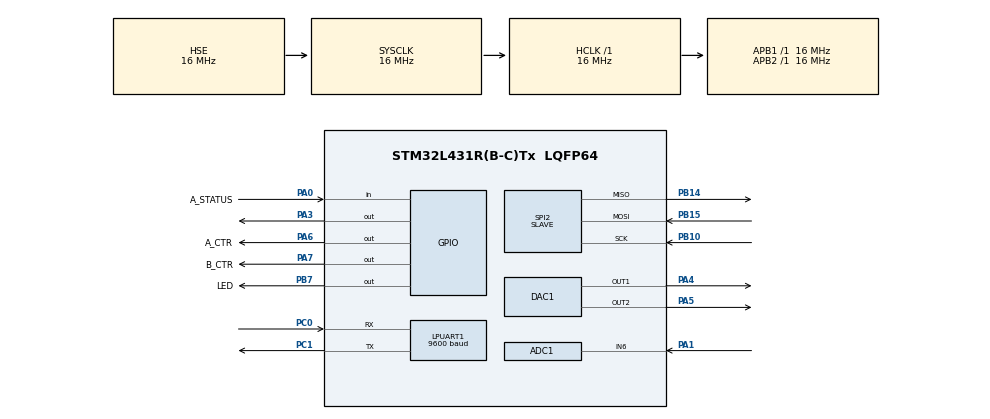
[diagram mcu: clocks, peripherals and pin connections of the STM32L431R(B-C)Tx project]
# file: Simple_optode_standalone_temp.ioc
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ADC1.Channel-3\#ChannelRegularConversion=ADC_CHANNEL_6
ADC1.NbrOfConversionFlag=1
ADC1.OffsetNumber-3\#ChannelRegularConversion=ADC_OFFSET_NONE
ADC1.Rank-3\#ChannelRegularConversion=1
ADC1.Resolution=ADC_RESOLUTION_12B
ADC1.SamplingTime-3\#ChannelRegularConversion=ADC_SAMPLETIME_2CYCLES_5
ADC1.master=1
DAC1.DAC_Channel-DAC_OUT2=DAC_CHANNEL_2
LPUART1.BaudRate=9600
LPUART1.WordLength=UART_WORDLENGTH_8B
Mcu.Family=STM32L4
Mcu.Name=STM32L431R(B-C)Tx
Mcu.Package=LQFP64
NVIC.PriorityGroup=NVIC_PRIORITYGROUP_4
NVIC.TIM1_UP_TIM16_IRQn=true\:0\:0\:false\:false\:true\:true\:true
PA0.GPIO_Label=A_STATUS
PA0.Signal=GPIO_Input
PA1.Signal=ADCx_IN6
PA13\ (JTMS-SWDIO).Mode=Serial_Wire
PA13\ (JTMS-SWDIO).Signal=SYS_JTMS-SWDIO
PA14\ (JTCK-SWCLK).Mode=Serial_Wire
PA14\ (JTCK-SWCLK).Signal=SYS_JTCK-SWCLK
PA3.Signal=GPIO_Output
PA4.Signal=COMP_DAC11_group
PA5.Signal=COMP_DAC12_group
PA6.GPIO_Label=A_CTR
PA6.Signal=GPIO_Output
PA7.GPIO_Label=B_CTR
PA7.Signal=GPIO_Output
PB10.Mode=Full_Duplex_Slave
PB10.Signal=SPI2_SCK
PB12.Signal=SPI2_NSS
PB14.Mode=Full_Duplex_Slave
PB14.Signal=SPI2_MISO
PB15.Mode=Full_Duplex_Slave
PB15.Signal=SPI2_MOSI
PB7.GPIO_Label=LED
PB7.Signal=GPIO_Output
PC0.Mode=Asynchronous
PC0.Signal=LPUART1_RX
PC1.Mode=Asynchronous
PC1.Signal=LPUART1_TX
PC14-OSC32_IN\ (PC14).Mode=LSE-External-Oscillator
PC14-OSC32_IN\ (PC14).Signal=RCC_OSC32_IN
PC15-OSC32_OUT\ (PC15).Mode=LSE-External-Oscillator
PC15-OSC32_OUT\ (PC15).Signal=RCC_OSC32_OUT
PH0-OSC_IN\ (PH0).Mode=HSE-External-Oscillator
PH0-OSC_IN\ (PH0).Signal=RCC_OSC_IN
PH1-OSC_OUT\ (PH1).Mode=HSE-External-Oscillator
PH1-OSC_OUT\ (PH1).Signal=RCC_OSC_OUT
ProjectManager.HeapSize=0x200
ProjectManager.StackSize=0x400
ProjectManager.TargetToolchain=STM32CubeIDE
RCC.ADCCLockSelection=RCC_ADCCLKSOURCE_SYSCLK
RCC.ADCFreq_Value=16000000
RCC.AHBFreq_Value=16000000
RCC.APB1Freq_Value=16000000
RCC.APB1TimFreq_Value=16000000
RCC.APB2Freq_Value=16000000
RCC.APB2TimFreq_Value=16000000
RCC.CortexFreq_Value=16000000
RCC.FLatency-AdvancedSettings=FLASH_LATENCY_0
RCC.HCLKFreq_Value=16000000
RCC.HSE_VALUE=16000000
RCC.HSI48_VALUE=48000000
RCC.HSI_VALUE=16000000
RCC.LPUART1CLockSelection=RCC_LPUART1CLKSOURCE_SYSCLK
RCC.MSIAutoCalibration-AdvancedSettings=ENABLED
RCC.MSI_VALUE=4000000
RCC.PLLSourceVirtual=RCC_PLLSOURCE_HSE
RCC.SYSCLKFreq_VALUE=16000000
RCC.SYSCLKSource=RCC_SYSCLKSOURCE_HSE
RCC.VCOOutputFreq_Value=128000000
SH.ADCx_IN6.0=ADC1_IN6,IN6-Single-Ended
SH.COMP_DAC11_group.0=DAC1_OUT1,DAC_OUT1
SH.COMP_DAC12_group.0=DAC1_OUT2,DAC_OUT2
SPI2.Direction=SPI_DIRECTION_2LINES
SPI2.Mode=SPI_MODE_SLAVE
SPI2.VirtualType=VM_SLAVE
TIM16.Period=400-1
TIM16.Prescaler=4000-1
VP_TIM16_VS_ClockSourceINT.Mode=Enable_Timer
board=custom

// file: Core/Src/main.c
/* USER CODE BEGIN Header */
/**
  ******************************************************************************
  * @file           : main.c
  * @brief          : Simple optode standalone temp
  ******************************************************************************
  * @attention
  *
  * <h2><center>&copy; Copyright (c) 2022 STMicroelectronics.
  * All rights reserved.</center></h2>
  *
  * This software component is licensed by ST under BSD 3-Clause license,
  * the "License"; You may not use this file except in compliance with the
  * License. You may obtain a copy of the License at:
  *                        opensource.org/licenses/BSD-3-Clause
  *
  ******************************************************************************
  */
/* USER CODE END Header */
#include "main.h"

/* USER CODE BEGIN Includes */
#include <stdio.h>
#include <string.h>
/* USER CODE END Includes */

/* USER CODE BEGIN PD */
#define DMABUFLEN 128 //1111
/* USER CODE END PD */

ADC_HandleTypeDef hadc1;

DAC_HandleTypeDef hdac1;

UART_HandleTypeDef hlpuart1;

SPI_HandleTypeDef hspi2;

TIM_HandleTypeDef htim16;

/* USER CODE BEGIN PV */
uint32_t DAC_val = 4000;
uint16_t DMAbuffer[DMABUFLEN];

/* USER CODE END PV */

void SystemClock_Config(void);
static void MX_GPIO_Init(void);
static void MX_ADC1_Init(void);
static void MX_DAC1_Init(void);
static void MX_TIM16_Init(void);
static void MX_LPUART1_UART_Init(void);
static void MX_SPI2_Init(void);

/* USER CODE BEGIN 0 */
uint32_t adc_reading;
char msg[10];
char uart_buf[100];
int uart_buf_len;
int counter;
uint8_t data[] = "HELLO WORLD Go Home Gota \r\n";
//uint8_t data[3] = {10,20,30};
/* USER CODE END 0 */

int main(void)
{

  /* MCU Configuration--------------------------------------------------------*/

  /* Reset of all peripherals, Initializes the Flash interface and the Systick. */
  HAL_Init();

  /* Configure the system clock */
  SystemClock_Config();

  /* Initialize all configured peripherals */
  MX_GPIO_Init();
  MX_ADC1_Init();
  MX_DAC1_Init();
  MX_TIM16_Init();
  MX_LPUART1_UART_Init();
  MX_SPI2_Init();
  /* USER CODE BEGIN 2 */
//  HAL_GPIO_WritePin(GPIOB, GPIO_PIN_7, GPIO_PIN_SET);
//
//  HAL_GPIO_WritePin(GPIOA, GPIO_PIN_3, GPIO_PIN_SET);

  HAL_DAC_Start(&hdac1, DAC_CHANNEL_1);
  HAL_DAC_Start(&hdac1, DAC_CHANNEL_2);
  HAL_DAC_SetValue(&hdac1, DAC1_CHANNEL_1, DAC_ALIGN_12B_R, 4000);
  HAL_DAC_SetValue(&hdac1, DAC1_CHANNEL_2, DAC_ALIGN_12B_R, 4000);

  //toggling
  HAL_GPIO_WritePin(GPIOB, GPIO_PIN_7, GPIO_PIN_SET);
  HAL_GPIO_WritePin(GPIOA, GPIO_PIN_7, GPIO_PIN_SET);
  HAL_GPIO_WritePin(GPIOA, GPIO_PIN_6, GPIO_PIN_RESET);
  HAL_Delay(100);
  HAL_GPIO_TogglePin(GPIOB, GPIO_PIN_7);
  HAL_Delay(100);
  HAL_GPIO_TogglePin(GPIOB, GPIO_PIN_7);
  HAL_Delay(100);
  HAL_GPIO_TogglePin(GPIOB, GPIO_PIN_7);
  HAL_Delay(100);
  HAL_GPIO_TogglePin(GPIOB, GPIO_PIN_7);
  HAL_Delay(100);
  HAL_GPIO_TogglePin(GPIOB, GPIO_PIN_7);
  HAL_Delay(100);

  //start interrupt timer
  HAL_TIM_Base_Start_IT(&htim16);

  //start interrupt for ADC
  HAL_ADC_Start(&hadc1);

//  //start timer 1
//  HAL_TIM_Base_Start(&htim1);
//  HAL_TIM_OC_Start(&htim1,TIM_CHANNEL_1);
//
//  //Start ADC reading
//  HAL_ADC_Start_DMA(&hadc1, (uint32_t *)DMAbuffer,DMABUFLEN);

  /* USER CODE END 2 */

  /* Infinite loop */
  while (1)
  {

    /* USER CODE BEGIN 3 */

//	  HAL_GPIO_WritePin(GPIOB, GPIO_PIN_7, GPIO_PIN_SET);
//	  HAL_GPIO_WritePin(GPIOA, GPIO_PIN_6, GPIO_PIN_SET);
//	  HAL_GPIO_WritePin(GPIOA, GPIO_PIN_7, GPIO_PIN_RESET);
//	  HAL_Delay(2000);
//	  HAL_GPIO_WritePin(GPIOB, GPIO_PIN_7, GPIO_PIN_RESET);
//	  HAL_GPIO_WritePin(GPIOA, GPIO_PIN_6, GPIO_PIN_RESET);
//	  HAL_GPIO_WritePin(GPIOA, GPIO_PIN_7, GPIO_PIN_SET);

//	  counter++;
//	  HAL_Delay(1000);
//	  sprintf(msg, "%hu\r\n", counter);
//	  HAL_UART_Transmit(&hlpuart1, (uint8_t*)msg, strlen(msg), HAL_MAX_DELAY);
//

//	  HAL_UART_Transmit(&hlpuart1, data, sizeof(data), HAL_MAX_DELAY);

  }
  /* USER CODE END 3 */
}

void SystemClock_Config(void)
{
  RCC_OscInitTypeDef RCC_OscInitStruct = {0};
  RCC_ClkInitTypeDef RCC_ClkInitStruct = {0};

  /** Configure the main internal regulator output voltage
  */
  if (HAL_PWREx_ControlVoltageScaling(PWR_REGULATOR_VOLTAGE_SCALE1) != HAL_OK)
  {
    Error_Handler();
  }
  /** Initializes the RCC Oscillators according to the specified parameters
  * in the RCC_OscInitTypeDef structure.
  */
  RCC_OscInitStruct.OscillatorType = RCC_OSCILLATORTYPE_HSE;
  RCC_OscInitStruct.HSEState = RCC_HSE_ON;
  RCC_OscInitStruct.PLL.PLLState = RCC_PLL_NONE;
  if (HAL_RCC_OscConfig(&RCC_OscInitStruct) != HAL_OK)
  {
    Error_Handler();
  }
  /** Initializes the CPU, AHB and APB buses clocks
  */
  RCC_ClkInitStruct.ClockType = RCC_CLOCKTYPE_HCLK|RCC_CLOCKTYPE_SYSCLK
                              |RCC_CLOCKTYPE_PCLK1|RCC_CLOCKTYPE_PCLK2;
  RCC_ClkInitStruct.SYSCLKSource = RCC_SYSCLKSOURCE_HSE;
  RCC_ClkInitStruct.AHBCLKDivider = RCC_SYSCLK_DIV1;
  RCC_ClkInitStruct.APB1CLKDivider = RCC_HCLK_DIV1;
  RCC_ClkInitStruct.APB2CLKDivider = RCC_HCLK_DIV1;

  if (HAL_RCC_ClockConfig(&RCC_ClkInitStruct, FLASH_LATENCY_0) != HAL_OK)
  {
    Error_Handler();
  }
}

static void MX_ADC1_Init(void)
{

  ADC_ChannelConfTypeDef sConfig = {0};

  /** Common config
  */
  hadc1.Instance = ADC1;
  hadc1.Init.ClockPrescaler = ADC_CLOCK_ASYNC_DIV1;
  hadc1.Init.Resolution = ADC_RESOLUTION_12B;
  hadc1.Init.DataAlign = ADC_DATAALIGN_RIGHT;
  hadc1.Init.ScanConvMode = ADC_SCAN_DISABLE;
  hadc1.Init.EOCSelection = ADC_EOC_SINGLE_CONV;
  hadc1.Init.LowPowerAutoWait = DISABLE;
  hadc1.Init.ContinuousConvMode = DISABLE;
  hadc1.Init.NbrOfConversion = 1;
  hadc1.Init.DiscontinuousConvMode = DISABLE;
  hadc1.Init.ExternalTrigConv = ADC_SOFTWARE_START;
  hadc1.Init.ExternalTrigConvEdge = ADC_EXTERNALTRIGCONVEDGE_NONE;
  hadc1.Init.DMAContinuousRequests = DISABLE;
  hadc1.Init.Overrun = ADC_OVR_DATA_PRESERVED;
  hadc1.Init.OversamplingMode = DISABLE;
  if (HAL_ADC_Init(&hadc1) != HAL_OK)
  {
    Error_Handler();
  }
  /** Configure Regular Channel
  */
  sConfig.Channel = ADC_CHANNEL_6;
  sConfig.Rank = ADC_REGULAR_RANK_1;
  sConfig.SamplingTime = ADC_SAMPLETIME_2CYCLES_5;
  sConfig.SingleDiff = ADC_SINGLE_ENDED;
  sConfig.OffsetNumber = ADC_OFFSET_NONE;
  sConfig.Offset = 0;
  if (HAL_ADC_ConfigChannel(&hadc1, &sConfig) != HAL_OK)
  {
    Error_Handler();
  }

}

static void MX_DAC1_Init(void)
{

  DAC_ChannelConfTypeDef sConfig = {0};

  /** DAC Initialization
  */
  hdac1.Instance = DAC1;
  if (HAL_DAC_Init(&hdac1) != HAL_OK)
  {
    Error_Handler();
  }
  /** DAC channel OUT1 config
  */
  sConfig.DAC_SampleAndHold = DAC_SAMPLEANDHOLD_DISABLE;
  sConfig.DAC_Trigger = DAC_TRIGGER_NONE;
  sConfig.DAC_OutputBuffer = DAC_OUTPUTBUFFER_ENABLE;
  sConfig.DAC_ConnectOnChipPeripheral = DAC_CHIPCONNECT_DISABLE;
  sConfig.DAC_UserTrimming = DAC_TRIMMING_FACTORY;
  if (HAL_DAC_ConfigChannel(&hdac1, &sConfig, DAC_CHANNEL_1) != HAL_OK)
  {
    Error_Handler();
  }
  /** DAC channel OUT2 config
  */
  if (HAL_DAC_ConfigChannel(&hdac1, &sConfig, DAC_CHANNEL_2) != HAL_OK)
  {
    Error_Handler();
  }

}

static void MX_LPUART1_UART_Init(void)
{

  hlpuart1.Instance = LPUART1;
  hlpuart1.Init.BaudRate = 9600;
  hlpuart1.Init.WordLength = UART_WORDLENGTH_8B;
  hlpuart1.Init.StopBits = UART_STOPBITS_1;
  hlpuart1.Init.Parity = UART_PARITY_NONE;
  hlpuart1.Init.Mode = UART_MODE_TX_RX;
  hlpuart1.Init.HwFlowCtl = UART_HWCONTROL_NONE;
  hlpuart1.Init.OneBitSampling = UART_ONE_BIT_SAMPLE_DISABLE;
  hlpuart1.AdvancedInit.AdvFeatureInit = UART_ADVFEATURE_NO_INIT;
  if (HAL_UART_Init(&hlpuart1) != HAL_OK)
  {
    Error_Handler();
  }

}

static void MX_SPI2_Init(void)
{

  /* SPI2 parameter configuration*/
  hspi2.Instance = SPI2;
  hspi2.Init.Mode = SPI_MODE_SLAVE;
  hspi2.Init.Direction = SPI_DIRECTION_2LINES;
  hspi2.Init.DataSize = SPI_DATASIZE_4BIT;
  hspi2.Init.CLKPolarity = SPI_POLARITY_LOW;
  hspi2.Init.CLKPhase = SPI_PHASE_1EDGE;
  hspi2.Init.NSS = SPI_NSS_SOFT;
  hspi2.Init.FirstBit = SPI_FIRSTBIT_MSB;
  hspi2.Init.TIMode = SPI_TIMODE_DISABLE;
  hspi2.Init.CRCCalculation = SPI_CRCCALCULATION_DISABLE;
  hspi2.Init.CRCPolynomial = 7;
  hspi2.Init.CRCLength = SPI_CRC_LENGTH_DATASIZE;
  hspi2.Init.NSSPMode = SPI_NSS_PULSE_DISABLE;
  if (HAL_SPI_Init(&hspi2) != HAL_OK)
  {
    Error_Handler();
  }

}

static void MX_TIM16_Init(void)
{

  htim16.Instance = TIM16;
  htim16.Init.Prescaler = 4000-1;
  htim16.Init.CounterMode = TIM_COUNTERMODE_UP;
  htim16.Init.Period = 400-1;
  htim16.Init.ClockDivision = TIM_CLOCKDIVISION_DIV1;
  htim16.Init.RepetitionCounter = 0;
  htim16.Init.AutoReloadPreload = TIM_AUTORELOAD_PRELOAD_DISABLE;
  if (HAL_TIM_Base_Init(&htim16) != HAL_OK)
  {
    Error_Handler();
  }

}

static void MX_GPIO_Init(void)
{
  GPIO_InitTypeDef GPIO_InitStruct = {0};

  /* GPIO Ports Clock Enable */
  __HAL_RCC_GPIOC_CLK_ENABLE();
  __HAL_RCC_GPIOH_CLK_ENABLE();
  __HAL_RCC_GPIOA_CLK_ENABLE();
  __HAL_RCC_GPIOB_CLK_ENABLE();

  /*Configure GPIO pin Output Level */
  HAL_GPIO_WritePin(GPIOA, GPIO_PIN_3|A_CTR_Pin|B_CTR_Pin, GPIO_PIN_RESET);

  /*Configure GPIO pin Output Level */
  HAL_GPIO_WritePin(LED_GPIO_Port, LED_Pin, GPIO_PIN_RESET);

  /*Configure GPIO pin : A_STATUS_Pin */
  GPIO_InitStruct.Pin = A_STATUS_Pin;
  GPIO_InitStruct.Mode = GPIO_MODE_INPUT;
  GPIO_InitStruct.Pull = GPIO_NOPULL;
  HAL_GPIO_Init(A_STATUS_GPIO_Port, &GPIO_InitStruct);

  /*Configure GPIO pins : PA3 A_CTR_Pin B_CTR_Pin */
  GPIO_InitStruct.Pin = GPIO_PIN_3|A_CTR_Pin|B_CTR_Pin;
  GPIO_InitStruct.Mode = GPIO_MODE_OUTPUT_PP;
  GPIO_InitStruct.Pull = GPIO_NOPULL;
  GPIO_InitStruct.Speed = GPIO_SPEED_FREQ_LOW;
  HAL_GPIO_Init(GPIOA, &GPIO_InitStruct);

  /*Configure GPIO pin : LED_Pin */
  GPIO_InitStruct.Pin = LED_Pin;
  GPIO_InitStruct.Mode = GPIO_MODE_OUTPUT_PP;
  GPIO_InitStruct.Pull = GPIO_NOPULL;
  GPIO_InitStruct.Speed = GPIO_SPEED_FREQ_LOW;
  HAL_GPIO_Init(LED_GPIO_Port, &GPIO_InitStruct);

}

/* USER CODE BEGIN 4 */
//Interrupt service routine for periodic timer interrupt
void HAL_TIM_PeriodElapsedCallback(TIM_HandleTypeDef *htim){
	if (htim==&htim16){
		HAL_GPIO_TogglePin(GPIOA, GPIO_PIN_6);
	    HAL_GPIO_TogglePin(GPIOA, GPIO_PIN_7);
	    HAL_GPIO_TogglePin(GPIOB, GPIO_PIN_7);

		//HAL_Delay(1);

//		//Read ADC reading
	    HAL_ADC_Start(&hadc1);
	    HAL_ADC_PollForConversion(&hadc1, HAL_MAX_DELAY);
	    adc_reading = HAL_ADC_GetValue(&hadc1);

	    sprintf(msg, "%hu\r\n", adc_reading);
//	    HAL_UART_Transmit(&hlpuart1, (uint8_t*)msg, strlen(msg), HAL_MAX_DELAY);

//	    counter++;
//	    sprintf(msg, "%hu\r\n", counter);
	    HAL_UART_Transmit(&hlpuart1, (uint8_t *)msg, strlen(msg), HAL_MAX_DELAY);

	    //HAL_UART_Transmit(&hlpuart1, data, sizeof(data), HAL_MAX_DELAY);
	}
}

////dmaBuffer
//void HAL_ADC_ConvCpltCallback(ADC_HandleTypeDef* hadc){
//	HAL_UART_Transmit(&hlpuart1, (uint8_t*)DMAbuffer, DMABUFLEN, HAL_MAX_DELAY);
//	//Start ADC reading
//	HAL_ADC_Start_DMA(&hadc1, (uint32_t *)DMAbuffer,DMABUFLEN);
//}

/* USER CODE END 4 */

void Error_Handler(void)
{
  __disable_irq();
  while (1)
  {
  }
}

/************************ (C) COPYRIGHT STMicroelectronics *****END OF FILE****/
